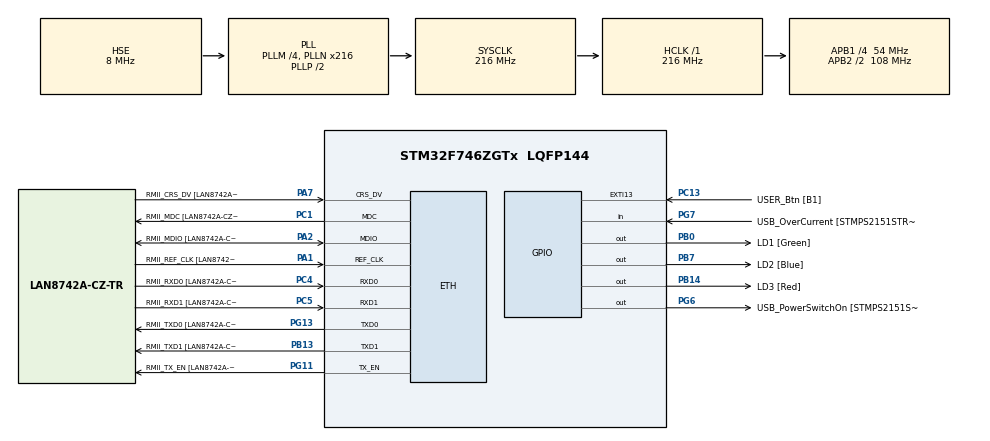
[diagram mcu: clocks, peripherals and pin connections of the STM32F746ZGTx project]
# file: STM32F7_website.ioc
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CORTEX_M7.ART_ACCLERATOR_ENABLE=0
CORTEX_M7.CPU_DCache=Enabled
CORTEX_M7.CPU_ICache=Enabled
CORTEX_M7.PREFETCH_ENABLE=1
ETH.MediaInterface=ETH_MEDIA_INTERFACE_RMII
ETH.PHY_Name=LAN8742A_PHY_ADDRESS
ETH.PHY_Value=0
ETH.PhyAddress=0
FREERTOS.Tasks01=defaultTask,0,128,StartDefaultTask,Default,NULL,Dynamic,NULL,NULL
FREERTOS.configUSE_TICKLESS_IDLE=1
LWIP.LWIP_HTTPD=1
LWIP.LWIP_HTTPD_CUSTOM_FILES=0
LWIP.LWIP_HTTPD_DYNAMIC_FILE_READ=0
LWIP.LWIP_HTTPD_FILE_STATE=0
LWIP.LWIP_HTTPD_REQ_QUEUELEN=20
LWIP.MEMP_NUM_TCP_PCB=100
LWIP.MEMP_NUM_TCP_PCB_LISTEN=100
LWIP.MEMP_NUM_UDP_PCB=100
LWIP.MEM_SIZE=100000
LWIP.Version=v2.1.2_Cube
Mcu.Family=STM32F7
Mcu.Name=STM32F746ZGTx
Mcu.Package=LQFP144
NVIC.ETH_IRQn=true\:7\:0\:true\:false\:true\:true\:false\:true
NVIC.PriorityGroup=NVIC_PRIORITYGROUP_4
NVIC.TIM1_UP_TIM10_IRQn=true\:0\:0\:false\:false\:true\:false\:false\:true
NVIC.TimeBase=TIM1_UP_TIM10_IRQn
NVIC.TimeBaseIP=TIM1
PA1.GPIO_Label=RMII_REF_CLK [LAN8742A-CZ-TR_REFCLK0]
PA1.Mode=RMII
PA1.Signal=ETH_REF_CLK
PA13.GPIO_Label=TMS
PA13.Mode=Trace_Asynchronous_SW
PA13.Signal=SYS_JTMS-SWDIO
PA14.GPIO_Label=TCK
PA14.Mode=Trace_Asynchronous_SW
PA14.Signal=SYS_JTCK-SWCLK
PA2.GPIO_Label=RMII_MDIO [LAN8742A-CZ-TR_MDIO]
PA2.Mode=RMII
PA2.Signal=ETH_MDIO
PA7.GPIO_Label=RMII_CRS_DV [LAN8742A-CZ-TR_CRS_DV]
PA7.Mode=RMII
PA7.Signal=ETH_CRS_DV
PB0.GPIO_Label=LD1 [Green]
PB0.Signal=GPIO_Output
PB13.GPIO_Label=RMII_TXD1 [LAN8742A-CZ-TR_TXD1]
PB13.Mode=RMII
PB13.Signal=ETH_TXD1
PB14.GPIO_Label=LD3 [Red]
PB14.Signal=GPIO_Output
PB3.GPIO_Label=SW0
PB3.Mode=Trace_Asynchronous_SW
PB3.Signal=SYS_JTDO-SWO
PB7.GPIO_Label=LD2 [Blue]
PB7.Signal=GPIO_Output
PC1.GPIO_Label=RMII_MDC [LAN8742A-CZ-TR_MDC]
PC1.Mode=RMII
PC1.Signal=ETH_MDC
PC13.GPIO_Label=USER_Btn [B1]
PC13.Signal=GPXTI13
PC14/OSC32_IN.Mode=LSE-External-Oscillator
PC14/OSC32_IN.Signal=RCC_OSC32_IN
PC15/OSC32_OUT.Mode=LSE-External-Oscillator
PC15/OSC32_OUT.Signal=RCC_OSC32_OUT
PC4.GPIO_Label=RMII_RXD0 [LAN8742A-CZ-TR_RXD0]
PC4.Mode=RMII
PC4.Signal=ETH_RXD0
PC5.GPIO_Label=RMII_RXD1 [LAN8742A-CZ-TR_RXD1]
PC5.Mode=RMII
PC5.Signal=ETH_RXD1
PG11.GPIO_Label=RMII_TX_EN [LAN8742A-CZ-TR_TXEN]
PG11.Mode=RMII
PG11.Signal=ETH_TX_EN
PG13.GPIO_Label=RMII_TXD0 [LAN8742A-CZ-TR_TXD0]
PG13.Mode=RMII
PG13.Signal=ETH_TXD0
PG6.GPIO_Label=USB_PowerSwitchOn [STMPS2151STR_EN]
PG6.Signal=GPIO_Output
PG7.GPIO_Label=USB_OverCurrent [STMPS2151STR_FAULT]
PG7.Signal=GPIO_Input
PH0/OSC_IN.GPIO_Label=MCO [STM32F103CBT6_PA8]
PH0/OSC_IN.Mode=HSE-External-Clock-Source
PH0/OSC_IN.Signal=RCC_OSC_IN
PH1/OSC_OUT.Mode=HSE-External-Clock-Source
PH1/OSC_OUT.Signal=RCC_OSC_OUT
ProjectManager.HeapSize=0x20000
ProjectManager.StackSize=0x1000
ProjectManager.TargetToolchain=STM32CubeIDE
RCC.48MHZClocksFreq_Value=24000000
RCC.AHBFreq_Value=216000000
RCC.APB1CLKDivider=RCC_HCLK_DIV4
RCC.APB1Freq_Value=54000000
RCC.APB1TimFreq_Value=108000000
RCC.APB2CLKDivider=RCC_HCLK_DIV2
RCC.APB2Freq_Value=108000000
RCC.APB2TimFreq_Value=216000000
RCC.CortexFreq_Value=216000000
RCC.HCLKFreq_Value=216000000
RCC.HSE_VALUE=8000000
RCC.HSI_VALUE=16000000
RCC.PLLM=4
RCC.PLLMUL=RCC_PLL_MUL9
RCC.PLLN=216
RCC.PLLQ=9
RCC.PLLSourceVirtual=RCC_PLLSOURCE_HSE
RCC.PRESCALERUSB=RCC_USBCLKSOURCE_PLL_DIV1_5
RCC.SYSCLKFreq_VALUE=216000000
RCC.SYSCLKSource=RCC_SYSCLKSOURCE_PLLCLK
RCC.SYSCLKSourceVirtual=RCC_SYSCLKSOURCE_PLLCLK
RCC.USBFreq_Value=48000000
RCC.VCOOutputFreq_Value=432000000
VP_CRC_VS_CRC.Mode=CRC_Activate
VP_FREERTOS_VS_CMSIS_V1.Mode=CMSIS_V1
VP_LWIP_VS_Enabled.Mode=Enabled
VP_SYS_VS_tim1.Mode=TIM1
board=NUCLEO-F746ZG

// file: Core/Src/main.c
/* USER CODE BEGIN Header */
/**
  ******************************************************************************
  * @file           : main.c
  * @brief          : Main program body
  ******************************************************************************
  * @attention
  *
  * <h2><center>&copy; Copyright (c) 2020 STMicroelectronics.
  * All rights reserved.</center></h2>
  *
  * This software component is licensed by ST under Ultimate Liberty license
  * SLA0044, the "License"; You may not use this file except in compliance with
  * the License. You may obtain a copy of the License at:
  *                             www.st.com/SLA0044
  *
  ******************************************************************************
  */
/* USER CODE END Header */

#include "main.h"
#include "cmsis_os.h"

/* USER CODE BEGIN Includes */
#include "ethernetif.h"
#include "lwip/netif.h"
#include "lwip/tcpip.h"
#include "app_ethernet.h"
#include "httpserver-netconn.h"
/* USER CODE END Includes */

CRC_HandleTypeDef hcrc;

osThreadId defaultTaskHandle;
/* USER CODE BEGIN PV */
struct netif gnetif; /* network interface structure */
/* USER CODE END PV */

void SystemClock_Config(void);
static void MX_GPIO_Init(void);
static void MX_CRC_Init(void);
void StartDefaultTask(void const * argument);

/* USER CODE BEGIN PFP */
static void Netif_Config(void);
/* USER CODE END PFP */

/* USER CODE BEGIN 0 */
void BSP_LED_On(int8_t ledid)
{
  switch(ledid)
  {
    case LED1: HAL_GPIO_WritePin(LD1_GPIO_Port, LD1_Pin, GPIO_PIN_SET); break;
    case LED2: HAL_GPIO_WritePin(LD2_GPIO_Port, LD2_Pin, GPIO_PIN_SET); break;
    case LED3: HAL_GPIO_WritePin(LD3_GPIO_Port, LD3_Pin, GPIO_PIN_SET); break;
  }
}

void BSP_LED_Off(int8_t ledid)
{
  switch(ledid)
  {
    case LED1: HAL_GPIO_WritePin(LD1_GPIO_Port, LD1_Pin, GPIO_PIN_RESET); break;
    case LED2: HAL_GPIO_WritePin(LD2_GPIO_Port, LD2_Pin, GPIO_PIN_RESET); break;
    case LED3: HAL_GPIO_WritePin(LD3_GPIO_Port, LD3_Pin, GPIO_PIN_RESET); break;
  }
}

/**
  * @brief  Initializes the lwIP stack
  * @param  None
  * @retval None
  */
static void Netif_Config(void)
{
  ip_addr_t ipaddr;
  ip_addr_t netmask;
  ip_addr_t gw;

#ifdef USE_DHCP
  ip_addr_set_zero_ip4(&ipaddr);
  ip_addr_set_zero_ip4(&netmask);
  ip_addr_set_zero_ip4(&gw);
#else
  IP_ADDR4(&ipaddr,IP_ADDR0,IP_ADDR1,IP_ADDR2,IP_ADDR3);
  IP_ADDR4(&netmask,NETMASK_ADDR0,NETMASK_ADDR1,NETMASK_ADDR2,NETMASK_ADDR3);
  IP_ADDR4(&gw,GW_ADDR0,GW_ADDR1,GW_ADDR2,GW_ADDR3);
#endif /* USE_DHCP */

  /* add the network interface */
  netif_add(&gnetif, &ipaddr, &netmask, &gw, NULL, &ethernetif_init, &tcpip_input);

  /*  Registers the default network interface. */
  netif_set_default(&gnetif);

  if (netif_is_link_up(&gnetif))
  {
    /* When the netif is fully configured this function must be called.*/
    netif_set_up(&gnetif);
  }
  else
  {
    /* When the netif link is down this function must be called */
    netif_set_down(&gnetif);
  }
}
/* USER CODE END 0 */

int main(void)
{

  /* Enable I-Cache---------------------------------------------------------*/
  SCB_EnableICache();

  /* Enable D-Cache---------------------------------------------------------*/
  SCB_EnableDCache();

  /* MCU Configuration--------------------------------------------------------*/

  /* Reset of all peripherals, Initializes the Flash interface and the Systick. */
  HAL_Init();

  /* Configure the system clock */
  SystemClock_Config();

  /* Initialize all configured peripherals */
  MX_GPIO_Init();
  MX_CRC_Init();

  /* Create the thread(s) */
  /* definition and creation of defaultTask */
  osThreadDef(defaultTask, StartDefaultTask, osPriorityNormal, 0, 512);
  defaultTaskHandle = osThreadCreate(osThread(defaultTask), NULL);

  /* USER CODE BEGIN RTOS_THREADS */
  /* add threads, ... */
  /* Init thread */
  /* USER CODE END RTOS_THREADS */

  /* Start scheduler */
  osKernelStart();

  /* We should never get here as control is now taken by the scheduler */
  /* Infinite loop */
  while (1)
  {

  }
}

void SystemClock_Config(void)
{
  RCC_OscInitTypeDef RCC_OscInitStruct = {0};
  RCC_ClkInitTypeDef RCC_ClkInitStruct = {0};

  /** Configure LSE Drive Capability
  */
  HAL_PWR_EnableBkUpAccess();
  /** Configure the main internal regulator output voltage
  */
  __HAL_RCC_PWR_CLK_ENABLE();
  __HAL_PWR_VOLTAGESCALING_CONFIG(PWR_REGULATOR_VOLTAGE_SCALE1);
  /** Initializes the CPU, AHB and APB busses clocks
  */
  RCC_OscInitStruct.OscillatorType = RCC_OSCILLATORTYPE_HSE;
  RCC_OscInitStruct.HSEState = RCC_HSE_BYPASS;
  RCC_OscInitStruct.PLL.PLLState = RCC_PLL_ON;
  RCC_OscInitStruct.PLL.PLLSource = RCC_PLLSOURCE_HSE;
  RCC_OscInitStruct.PLL.PLLM = 4;
  RCC_OscInitStruct.PLL.PLLN = 216;
  RCC_OscInitStruct.PLL.PLLP = RCC_PLLP_DIV2;
  RCC_OscInitStruct.PLL.PLLQ = 9;
  if (HAL_RCC_OscConfig(&RCC_OscInitStruct) != HAL_OK)
  {
    Error_Handler();
  }
  /** Activate the Over-Drive mode
  */
  if (HAL_PWREx_EnableOverDrive() != HAL_OK)
  {
    Error_Handler();
  }
  /** Initializes the CPU, AHB and APB busses clocks
  */
  RCC_ClkInitStruct.ClockType = RCC_CLOCKTYPE_HCLK|RCC_CLOCKTYPE_SYSCLK
                              |RCC_CLOCKTYPE_PCLK1|RCC_CLOCKTYPE_PCLK2;
  RCC_ClkInitStruct.SYSCLKSource = RCC_SYSCLKSOURCE_PLLCLK;
  RCC_ClkInitStruct.AHBCLKDivider = RCC_SYSCLK_DIV1;
  RCC_ClkInitStruct.APB1CLKDivider = RCC_HCLK_DIV4;
  RCC_ClkInitStruct.APB2CLKDivider = RCC_HCLK_DIV2;

  if (HAL_RCC_ClockConfig(&RCC_ClkInitStruct, FLASH_LATENCY_7) != HAL_OK)
  {
    Error_Handler();
  }
}

static void MX_CRC_Init(void)
{

  hcrc.Instance = CRC;
  hcrc.Init.DefaultPolynomialUse = DEFAULT_POLYNOMIAL_ENABLE;
  hcrc.Init.DefaultInitValueUse = DEFAULT_INIT_VALUE_ENABLE;
  hcrc.Init.InputDataInversionMode = CRC_INPUTDATA_INVERSION_NONE;
  hcrc.Init.OutputDataInversionMode = CRC_OUTPUTDATA_INVERSION_DISABLE;
  hcrc.InputDataFormat = CRC_INPUTDATA_FORMAT_BYTES;
  if (HAL_CRC_Init(&hcrc) != HAL_OK)
  {
    Error_Handler();
  }

}

static void MX_GPIO_Init(void)
{
  GPIO_InitTypeDef GPIO_InitStruct = {0};

  /* GPIO Ports Clock Enable */
  __HAL_RCC_GPIOC_CLK_ENABLE();
  __HAL_RCC_GPIOH_CLK_ENABLE();
  __HAL_RCC_GPIOA_CLK_ENABLE();
  __HAL_RCC_GPIOB_CLK_ENABLE();
  __HAL_RCC_GPIOG_CLK_ENABLE();

  /*Configure GPIO pin Output Level */
  HAL_GPIO_WritePin(GPIOB, LD1_Pin|LD3_Pin|LD2_Pin, GPIO_PIN_RESET);

  /*Configure GPIO pin Output Level */
  HAL_GPIO_WritePin(USB_PowerSwitchOn_GPIO_Port, USB_PowerSwitchOn_Pin, GPIO_PIN_RESET);

  /*Configure GPIO pin : USER_Btn_Pin */
  GPIO_InitStruct.Pin = USER_Btn_Pin;
  GPIO_InitStruct.Mode = GPIO_MODE_IT_RISING;
  GPIO_InitStruct.Pull = GPIO_NOPULL;
  HAL_GPIO_Init(USER_Btn_GPIO_Port, &GPIO_InitStruct);

  /*Configure GPIO pins : LD1_Pin LD3_Pin LD2_Pin */
  GPIO_InitStruct.Pin = LD1_Pin|LD3_Pin|LD2_Pin;
  GPIO_InitStruct.Mode = GPIO_MODE_OUTPUT_PP;
  GPIO_InitStruct.Pull = GPIO_NOPULL;
  GPIO_InitStruct.Speed = GPIO_SPEED_FREQ_LOW;
  HAL_GPIO_Init(GPIOB, &GPIO_InitStruct);

  /*Configure GPIO pin : USB_PowerSwitchOn_Pin */
  GPIO_InitStruct.Pin = USB_PowerSwitchOn_Pin;
  GPIO_InitStruct.Mode = GPIO_MODE_OUTPUT_PP;
  GPIO_InitStruct.Pull = GPIO_NOPULL;
  GPIO_InitStruct.Speed = GPIO_SPEED_FREQ_LOW;
  HAL_GPIO_Init(USB_PowerSwitchOn_GPIO_Port, &GPIO_InitStruct);

  /*Configure GPIO pin : USB_OverCurrent_Pin */
  GPIO_InitStruct.Pin = USB_OverCurrent_Pin;
  GPIO_InitStruct.Mode = GPIO_MODE_INPUT;
  GPIO_InitStruct.Pull = GPIO_NOPULL;
  HAL_GPIO_Init(USB_OverCurrent_GPIO_Port, &GPIO_InitStruct);

}

void StartDefaultTask(void const * argument)
{
  /* USER CODE BEGIN 5 */
  /* Create tcp_ip stack thread */
  tcpip_init(NULL, NULL);

  /* Initialize the LwIP stack */
  Netif_Config();

  /* Initialize webserver demo */
  http_server_netconn_init();

 /* Notify user about the network interface config */
  User_notification(&gnetif);

#ifdef USE_DHCP
  /* Start DHCPClient */
  osThreadDef(DHCP, DHCP_thread, osPriorityBelowNormal, 0, configMINIMAL_STACK_SIZE * 2);
  osThreadCreate (osThread(DHCP), &gnetif);
#endif

  for( ;; )
  {
    /* Delete the Init Thread */
    osThreadTerminate(NULL);
  }
  /* USER CODE END 5 */
}

 /**
  * @brief  Period elapsed callback in non blocking mode
  * @note   This function is called  when TIM1 interrupt took place, inside
  * HAL_TIM_IRQHandler(). It makes a direct call to HAL_IncTick() to increment
  * a global variable "uwTick" used as application time base.
  * @param  htim : TIM handle
  * @retval None
  */
void HAL_TIM_PeriodElapsedCallback(TIM_HandleTypeDef *htim)
{
  if (htim->Instance == TIM1) {
    HAL_IncTick();
  }
}

void Error_Handler(void)
{
}

/************************ (C) COPYRIGHT STMicroelectronics *****END OF FILE****/

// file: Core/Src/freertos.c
/* USER CODE BEGIN Header */
/**
  ******************************************************************************
  * File Name          : freertos.c
  * Description        : Code for freertos applications
  ******************************************************************************
  * @attention
  *
  * <h2><center>&copy; Copyright (c) 2020 STMicroelectronics.
  * All rights reserved.</center></h2>
  *
  * This software component is licensed by ST under Ultimate Liberty license
  * SLA0044, the "License"; You may not use this file except in compliance with
  * the License. You may obtain a copy of the License at:
  *                             www.st.com/SLA0044
  *
  ******************************************************************************
  */
/* USER CODE END Header */

#include "FreeRTOS.h"
#include "task.h"
#include "main.h"

/* Pre/Post sleep processing prototypes */
void PreSleepProcessing(uint32_t *ulExpectedIdleTime);
void PostSleepProcessing(uint32_t *ulExpectedIdleTime);

/* GetIdleTaskMemory prototype (linked to static allocation support) */
void vApplicationGetIdleTaskMemory( StaticTask_t **ppxIdleTaskTCBBuffer, StackType_t **ppxIdleTaskStackBuffer, uint32_t *pulIdleTaskStackSize );

/* USER CODE BEGIN PREPOSTSLEEP */
__weak void PreSleepProcessing(uint32_t *ulExpectedIdleTime)
{
/* place for user code */
}

__weak void PostSleepProcessing(uint32_t *ulExpectedIdleTime)
{
/* place for user code */
}
/* USER CODE END PREPOSTSLEEP */

/* USER CODE BEGIN GET_IDLE_TASK_MEMORY */
static StaticTask_t xIdleTaskTCBBuffer;
static StackType_t xIdleStack[configMINIMAL_STACK_SIZE];

void vApplicationGetIdleTaskMemory( StaticTask_t **ppxIdleTaskTCBBuffer, StackType_t **ppxIdleTaskStackBuffer, uint32_t *pulIdleTaskStackSize )
{
  *ppxIdleTaskTCBBuffer = &xIdleTaskTCBBuffer;
  *ppxIdleTaskStackBuffer = &xIdleStack[0];
  *pulIdleTaskStackSize = configMINIMAL_STACK_SIZE;
  /* place for user code */
}
/* USER CODE END GET_IDLE_TASK_MEMORY */

/************************ (C) COPYRIGHT STMicroelectronics *****END OF FILE****/
